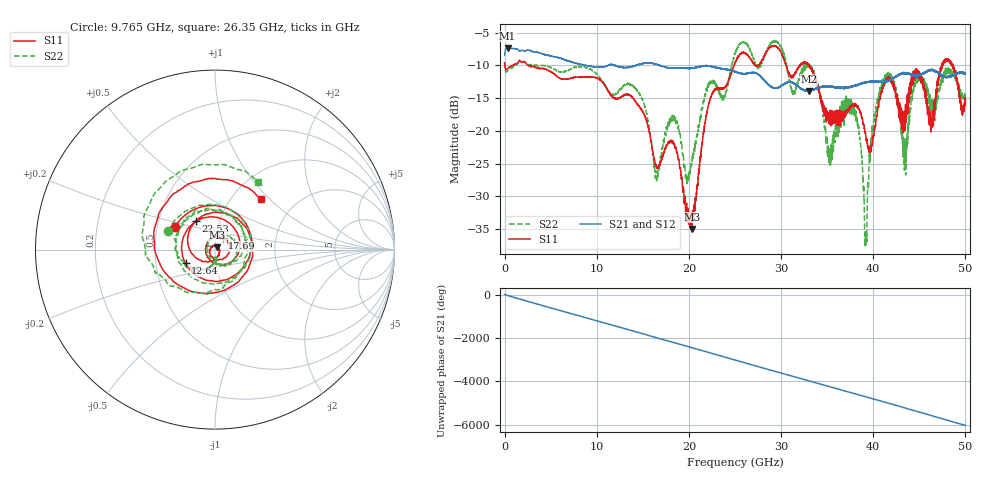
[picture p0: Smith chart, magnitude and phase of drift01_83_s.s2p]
!Created with skrf (http://scikit-rf.org).
# Hz S RI R 50.0
!freq ReS11 ImS11 ReS21 ImS21 ReS12 ImS12 ReS22 ImS22
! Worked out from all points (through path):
!   10001 points, 300 kHz to 50 GHz, reference 50 ohm
!   highest |S21| = -7.33 dB at 315.3 MHz (marker M1); lowest = -13.9 dB at 33.02 GHz (marker M2)
!   group delay of S21, straight-line fit = 335 ps
!   lowest |S11| = -35.0 dB at 20.3 GHz (marker M3), VSWR 1.04, Z = 51.4 + j1.2 ohm
!   |S11| at or under -10 dB: 2.566 GHz to 24.9 GHz (22.34 GHz wide, 163 % of centre); 30.54 GHz to 32.06 GHz (1.523 GHz wide, 4.86 % of centre); 33.08 GHz to 47.45 GHz (14.38 GHz wide, 35.7 % of centre) (the widest 3 of 22)
!   |S22| runs from -37.6 to -6.2 dB; largest |S21 - S12| = 0.01
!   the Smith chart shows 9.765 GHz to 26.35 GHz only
!   S11 on the Smith chart (normalised r, x): 9.765 GHz: 0.62, +0.16; 12.64 GHz: 0.71, -0.11; 17.69 GHz: 1.08, +0.14; 22.53 GHz: 0.77, +0.26; 26.35 GHz: 1.34, +0.89
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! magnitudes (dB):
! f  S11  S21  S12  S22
! 300 kHz  -9.6  -8.4  -8.5  -9.5
! 315.3 MHz  -10.5  -7.3  -7.3  -10.9
! 8.335 GHz  -11.8  -9.8  -9.8  -10.2
! 9.765 GHz  -11.8  -10.2  -10.2  -11.0
! 12.64 GHz  -14.9  -10.3  -10.3  -13.5
! 16.67 GHz  -25.6  -9.9  -9.9  -26.9
! 17.69 GHz  -22.1  -10.3  -10.4  -19.1
! 20.3 GHz  -35.0  -10.4  -10.4  -25.1
! 22.53 GHz  -14.3  -10.2  -10.2  -12.2
! 25 GHz  -9.6  -10.9  -11.0  -8.2
! 26.35 GHz  -8.4  -11.3  -11.2  -6.9
! 33.02 GHz  -9.9  -13.9  -13.8  -10.1
! 33.34 GHz  -10.8  -13.8  -13.7  -10.6
! 35.28 GHz  -18.2  -13.2  -13.2  -22.8
! 37.96 GHz  -15.9  -13.1  -13.1  -17.1
! 39.16 GHz  -20.3  -12.6  -12.6  -37.0
! 40.09 GHz  -20.6  -12.5  -12.4  -17.8
! 41.67 GHz  -11.7  -12.3  -12.3  -12.0
! 43.45 GHz  -18.5  -11.2  -11.2  -22.5
! 44.86 GHz  -10.8  -11.6  -11.5  -11.9
! 46.28 GHz  -18.2  -10.6  -10.6  -15.9
! 50 GHz  -16.0  -11.2  -11.3  -15.0
